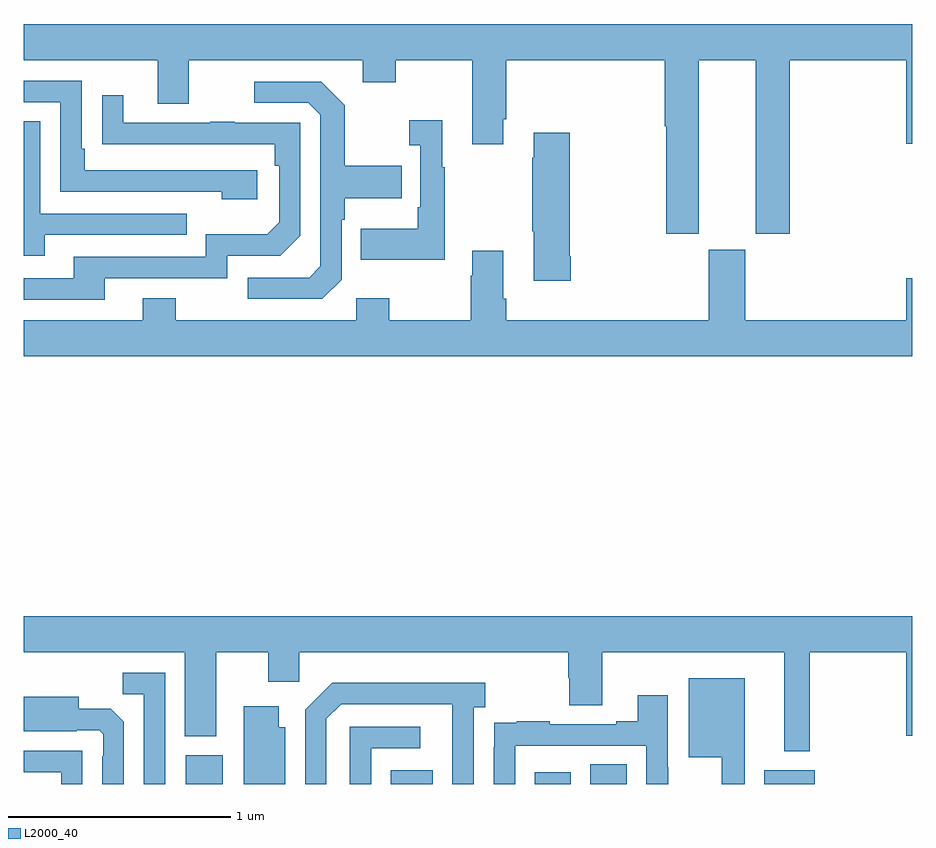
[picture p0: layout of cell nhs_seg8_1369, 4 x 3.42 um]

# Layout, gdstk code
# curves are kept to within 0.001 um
import gdstk
lib = gdstk.Library(unit=1e-6, precision=1e-09)
def R(c, l, rs):  # rectangles x0, y0, x1, y1
    for r in rs: c.add(gdstk.rectangle(r[:2], r[2:], *l))
def P(c, l, *ps):  # polygons
    for p in ps: c.add(gdstk.Polygon(p, *l))
L2000_40 = (2000, 40)

nhs_seg8_1369 = lib.new_cell('nhs_seg8_1369')
R(nhs_seg8_1369, L2000_40, [(197.729,1123.9,197.896,1124.029), (198.653,1123.9,198.841,1123.963), (199.301,1123.9,199.462,1123.954), (199.55,1123.9,199.714,1123.988), (200.333,1123.9,200.56,1123.963)])
P(nhs_seg8_1369, L2000_40, [(200.038,1127.156),(200.294,1127.156),(200.294,1126.377),(200.447,1126.377),(200.447,1127.156),(200.972,1127.156),(200.972,1126.782),(201,1126.782),(201,1127.32),(197,1127.32),(197,1127.156),(197.603,1127.156),(197.603,1126.962),(197.743,1126.962),(197.743,1127.156),(198.527,1127.156),(198.527,1127.057),(198.675,1127.057),(198.675,1127.156),(199.019,1127.156),(199.019,1126.779),(199.159,1126.779),(199.159,1126.891),(199.172,1126.891),(199.172,1127.156),(199.886,1127.156),(199.886,1126.86),(199.891,1126.86),(199.891,1126.377),(200.038,1126.377)],
  [(198.052,1126.662),(197.275,1126.662),(197.275,1126.759),(197.262,1126.759),(197.262,1127.064),(197,1127.064),(197,1126.968),(197.166,1126.968),(197.166,1126.566),(197.891,1126.566),(197.891,1126.532),(198.052,1126.532)],
  [(198.432,1126.17),(198.432,1126.439),(198.445,1126.439),(198.445,1126.535),(198.701,1126.535),(198.701,1126.683),(198.445,1126.683),(198.445,1126.955),(198.339,1127.061),(198.039,1127.061),(198.039,1126.965),(198.282,1126.965),(198.336,1126.911),(198.336,1126.23),(198.285,1126.179),(198.009,1126.179),(198.009,1126.083),(198.345,1126.083)],
  [(197.365,1126.176),(197.916,1126.176),(197.916,1126.278),(198.156,1126.278),(198.246,1126.368),(198.246,1126.875),(197.951,1126.875),(197.951,1126.88),(197.839,1126.88),(197.839,1126.875),(197.449,1126.875),(197.449,1126.999),(197.353,1126.999),(197.353,1126.78),(198.13,1126.779),(198.13,1126.682),(198.15,1126.682),(198.15,1126.428),(198.097,1126.375),(197.82,1126.375),(197.82,1126.272),(197.225,1126.272),(197.225,1126.176),(197.001,1126.176),(197.001,1126.08),(197.365,1126.08)],
  [(198.895,1126.675),(198.883,1126.675),(198.883,1126.888),(198.735,1126.888),(198.735,1126.775),(198.786,1126.775),(198.786,1126.495),(198.774,1126.495),(198.774,1126.399),(198.517,1126.399),(198.517,1126.259),(198.895,1126.259)],
  [(197.095,1126.371),(197.735,1126.371),(197.735,1126.467),(197.076,1126.467),(197.076,1126.883),(197,1126.883),(197,1126.277),(197.095,1126.277)],
  [(199.463,1126.276),(199.458,1126.276),(199.458,1126.831),(199.295,1126.831),(199.295,1126.718),(199.288,1126.718),(199.288,1126.387),(199.295,1126.387),(199.295,1126.164),(199.463,1126.164)],
  [(201,1126.177),(200.972,1126.177),(200.972,1125.988),(200.248,1125.988),(200.248,1126.305),(200.084,1126.305),(200.084,1125.988),(199.172,1125.988),(199.172,1126.084),(199.159,1126.084),(199.159,1126.3),(199.019,1126.3),(199.019,1126.187),(199.012,1126.187),(199.012,1125.988),(198.645,1125.988),(198.645,1126.087),(198.498,1126.087),(198.498,1125.988),(197.685,1125.988),(197.685,1126.087),(197.537,1126.087),(197.537,1125.988),(197,1125.988),(197,1125.824),(201,1125.824)],
  [(197,1124.492),(197.726,1124.492),(197.726,1124.114),(197.866,1124.114),(197.866,1124.492),(198.101,1124.492),(198.101,1124.361),(198.24,1124.361),(198.24,1124.492),(199.451,1124.492),(199.451,1124.379),(199.456,1124.379),(199.456,1124.254),(199.603,1124.254),(199.603,1124.492),(200.423,1124.492),(200.423,1124.048),(200.537,1124.048),(200.537,1124.492),(200.972,1124.492),(200.972,1124.118),(201,1124.118),(201,1124.656),(197,1124.656)],
  [(197.637,1124.4),(197.446,1124.4),(197.446,1124.305),(197.541,1124.305),(197.541,1123.9),(197.637,1123.9)],
  [(200.245,1124.377),(199.994,1124.377),(199.994,1124.021),(200.141,1124.021),(200.141,1123.9),(200.245,1123.9)],
  [(198.363,1124.193),(198.429,1124.259),(198.929,1124.259),(198.93,1123.9),(199.026,1123.9),(199.026,1124.246),(199.078,1124.246),(199.078,1124.356),(198.388,1124.356),(198.267,1124.235),(198.267,1123.9),(198.363,1123.9)],
  [(199.212,1124.073),(199.803,1124.073),(199.803,1123.9),(199.902,1123.9),(199.902,1123.976),(199.899,1123.976),(199.899,1124.299),(199.763,1124.299),(199.763,1124.182),(199.667,1124.182),(199.667,1124.169),(199.367,1124.169),(199.367,1124.182),(199.219,1124.182),(199.219,1124.175),(199.117,1124.175),(199.117,1124.066),(199.116,1124.066),(199.116,1123.9),(199.212,1123.9)],
  [(197.451,1124.18),(197.392,1124.239),(197.248,1124.239),(197.248,1124.293),(197,1124.293),(197,1124.138),(197.24,1124.138),(197.24,1124.142),(197.34,1124.142),(197.358,1124.124),(197.358,1124.024),(197.355,1124.024),(197.355,1123.9),(197.451,1123.9)],
  [(198.178,1124.155),(198.148,1124.155),(198.148,1124.251),(197.99,1124.251),(197.99,1124.019),(197.991,1124.019),(197.991,1123.9),(198.178,1123.9)],
  [(198.564,1124.061),(198.784,1124.061),(198.784,1124.157),(198.468,1124.157),(198.468,1123.9),(198.564,1123.9)],
  [(197.265,1124.049),(197,1124.049),(197,1123.953),(197.169,1123.953),(197.169,1123.9),(197.265,1123.9)])

lib.write_gds('nhs_seg8_1369.gds')
